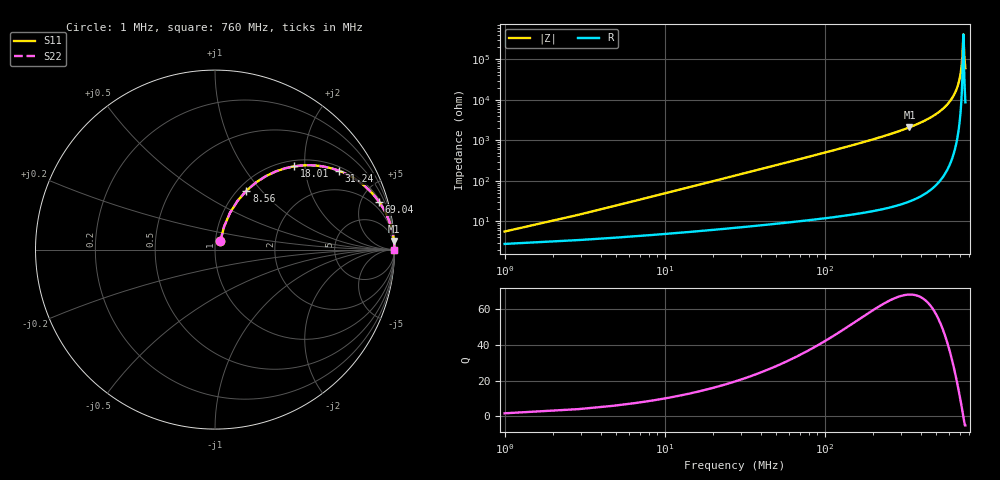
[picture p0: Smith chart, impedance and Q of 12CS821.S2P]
! Coilcraft 1206CS-821 Chip Inductor
! 29 July 2002
# MHZ S MA R 50
!Freq  MagS11  AngS11  MagS21  AngS21  MagS12  AngS12  MagS22  AngS22
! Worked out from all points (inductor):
!   403 points, 1 MHz to 760 MHz, reference 50 ohm
!   read as one part in series: L = 775 nH near 4.78 MHz
!   highest Q = 67.8 at 339.3 MHz (marker M1), where L = 983 nH
!   self-resonance near 736.2 MHz
!   S11 on the Smith chart (normalised r, x): 1 MHz: 1.06, +0.10; 8.56 MHz: 1.09, +0.83; 18.01 MHz: 1.12, +1.76; 31.24 MHz: 1.14, +3.05; 69.04 MHz: 1.20, +6.78; 760 MHz: open
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1  0.05445 57.7  0.972 -2.7  0.972 -2.7  0.05445 57.7
6.67  0.2999 65.2  0.9154 -17.3  0.9154 -17.3  0.2999 65.2
8.56  0.3724 61.9  0.8878 -21.7  0.8878 -21.7  0.3724 61.9
18.01  0.6394 46.5  0.727 -39.6  0.727 -39.6  0.6394 46.5
31.24  0.8187 32.4  0.5366 -54.9  0.5366 -54.9  0.8187 32.4
46.36  0.9027 23.4  0.398 -64.4  0.398 -64.4  0.9027 23.4
69.04  0.9516 16.3  0.2805 -72.0  0.2805 -72.0  0.9516 16.3
127.63  0.9849 8.8  0.1537 -80.0  0.1537 -80.0  0.9849 8.8
254.26  0.9964 4.1  0.07092 -85.0  0.07092 -85.0  0.9964 4.1
339.31  0.9982 2.7  0.04764 -86.4  0.04764 -86.4  0.9982 2.7
380.89  0.9986 2.3  0.0395 -86.9  0.0395 -86.9  0.9986 2.3
507.52  0.9994 1.2  0.02132 -87.7  0.02132 -87.7  0.9994 1.2
634.15  0.9997 0.5  0.008477 -87.6  0.008477 -87.6  0.9997 0.5
677.62  0.9997 0.3  0.004765 -86.5  0.004765 -86.5  0.9997 0.3
705.97  0.9997 0.1  0.002486 -84.0  0.002486 -84.0  0.9997 0.1
722.98  0.9998 0.1  0.001174 -77.8  0.001174 -77.8  0.9998 0.1
728.65  0.9998 0.0  0.0007538 -70.9  0.0007538 -70.9  0.9998 0.0
734.32  0.9998 0.0  0.0003724 -49.1  0.0003724 -49.1  0.9998 0.0
738.1  0.9998 -0.0  0.0002427 1.0  0.0002427 1.0  0.9998 -0.0
741.88  0.9998 -0.0  0.0003761 50.0  0.0003761 50.0  0.9998 -0.0
751.33  0.9998 -0.1  0.001021 76.4  0.001021 76.4  0.9998 -0.1
760  0.9998 -0.1  0.001648 81.7  0.001648 81.7  0.9998 -0.1
